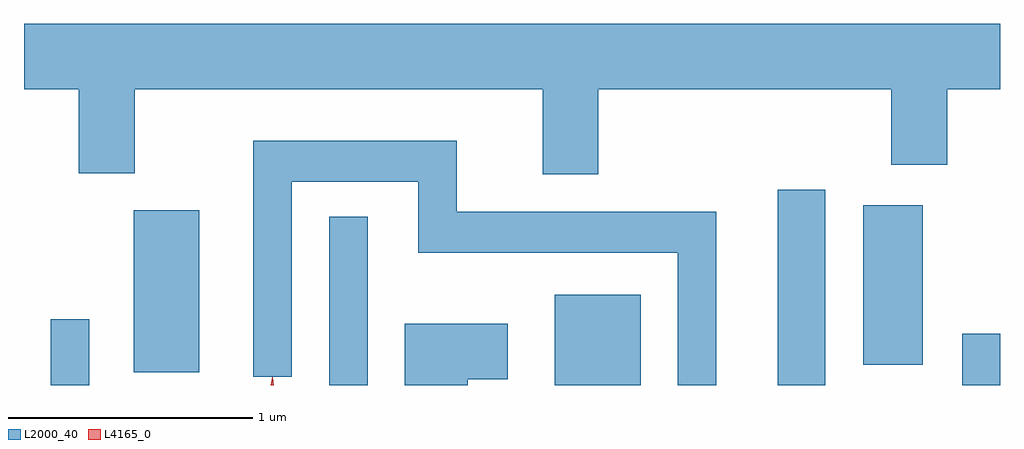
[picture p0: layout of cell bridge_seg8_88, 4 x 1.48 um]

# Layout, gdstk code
import gdstk
lib = gdstk.Library(unit=1e-6, precision=1e-09)
def R(c, l, rs):  # rectangles x0, y0, x1, y1
    for r in rs: c.add(gdstk.rectangle(r[:2], r[2:], *l))
def P(c, l, *ps):  # polygons
    for p in ps: c.add(gdstk.Polygon(p, *l))
L2000_40 = (2000, 40)
L4165_0 = (4165, 0)

bridge_seg8_88 = lib.new_cell('bridge_seg8_88')
R(bridge_seg8_88, L2000_40, [(1588.366,1806.342,1588.524,1806.613), (1589.506,1806.342,1589.664,1807.033), (1590.431,1806.342,1590.784,1806.714), (1591.346,1806.342,1591.539,1807.144), (1592.101,1806.342,1592.256,1806.553), (1588.706,1806.396,1588.974,1807.059), (1591.696,1806.426,1591.939,1807.079)])
P(bridge_seg8_88, L2000_40, [(1590.609,1807.556),(1591.811,1807.556),(1591.811,1807.246),(1592.039,1807.246),(1592.039,1807.556),(1592.256,1807.556),(1592.256,1807.824),(1588.256,1807.824),(1588.256,1807.556),(1588.481,1807.556),(1588.481,1807.211),(1588.709,1807.211),(1588.709,1807.556),(1590.381,1807.556),(1590.381,1807.206),(1590.609,1807.206)],
  [(1591.094,1807.054),(1590.029,1807.054),(1590.029,1807.344),(1589.196,1807.344),(1589.196,1806.378),(1589.354,1806.378),(1589.354,1807.176),(1589.871,1807.176),(1589.871,1806.886),(1590.936,1806.886),(1590.936,1806.342),(1591.094,1806.342)],
  [(1590.074,1806.366),(1590.239,1806.366),(1590.239,1806.594),(1589.816,1806.594),(1589.816,1806.342),(1590.074,1806.342)])
P(bridge_seg8_88, L4165_0, [(1589.268,1806.342),(1589.273,1806.372),(1589.273,1806.373),(1589.274,1806.372),(1589.278,1806.342)],
  [(1589.27,1806.342),(1589.274,1806.376),(1589.275,1806.376),(1589.28,1806.342)])

lib.write_gds('bridge_seg8_88.gds')
